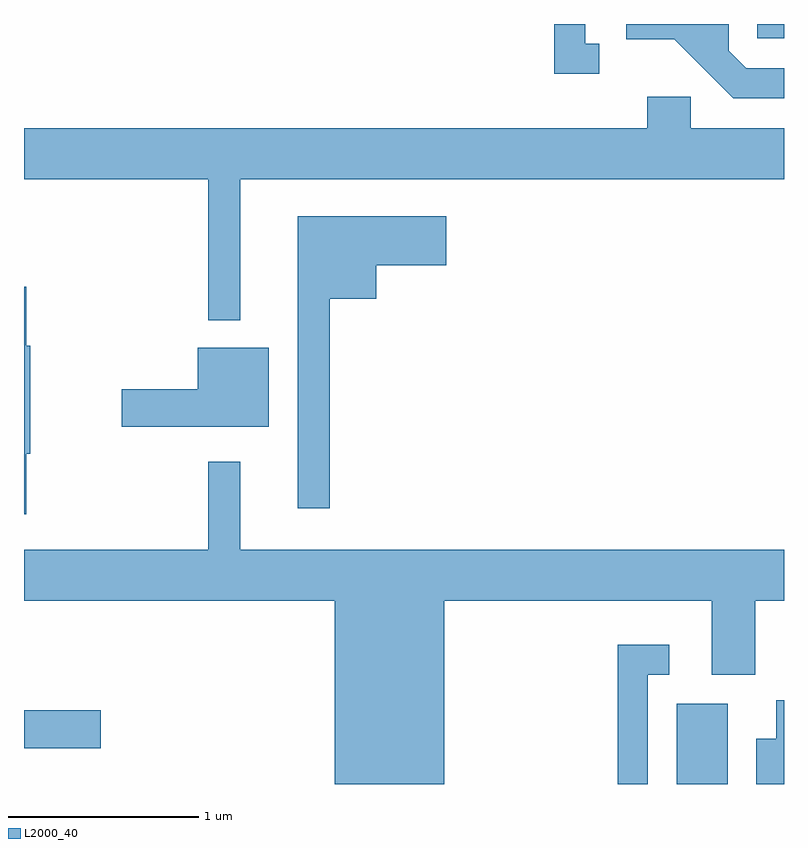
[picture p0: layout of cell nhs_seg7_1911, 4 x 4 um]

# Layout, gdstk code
import gdstk
lib = gdstk.Library(unit=1e-6, precision=1e-09)
def R(c, l, rs):  # rectangles x0, y0, x1, y1
    for r in rs: c.add(gdstk.rectangle(r[:2], r[2:], *l))
def P(c, l, *ps):  # polygons
    for p in ps: c.add(gdstk.Polygon(p, *l))
L2000_40 = (2000, 40)

nhs_seg7_1911 = lib.new_cell('nhs_seg7_1911')
R(nhs_seg7_1911, L2000_40, [(247.046,1702.252,247.314,1702.674), (243.611,1702.441,244.014,1702.639), (247.471,1706.176,247.611,1706.252)])
P(nhs_seg7_1911, L2000_40, [(247.611,1706.019),(247.412,1706.019),(247.319,1706.112),(247.319,1706.252),(246.781,1706.252),(246.781,1706.171),(247.034,1706.171),(247.344,1705.861),(247.611,1705.861)],
  [(246.638,1706.149),(246.564,1706.149),(246.564,1706.252),(246.401,1706.252),(246.401,1705.991),(246.638,1705.991)],
  [(244.749,1705.436),(247.611,1705.436),(247.611,1705.704),(247.119,1705.704),(247.119,1705.869),(246.891,1705.869),(246.891,1705.704),(243.611,1705.704),(243.611,1705.436),(244.581,1705.436),(244.581,1704.693),(244.749,1704.693)],
  [(245.219,1704.806),(245.464,1704.806),(245.464,1704.981),(245.834,1704.981),(245.834,1705.239),(245.051,1705.239),(245.051,1703.703),(245.219,1703.703)],
  [(243.624,1703.991),(243.644,1703.991),(243.644,1704.559),(243.624,1704.559),(243.624,1704.869),(243.611,1704.869),(243.611,1703.671),(243.624,1703.671)],
  [(244.899,1704.549),(244.526,1704.549),(244.526,1704.329),(244.126,1704.329),(244.126,1704.131),(244.899,1704.131)],
  [(245.824,1703.216),(247.231,1703.216),(247.231,1702.826),(247.459,1702.826),(247.459,1703.216),(247.611,1703.216),(247.611,1703.484),(244.749,1703.484),(244.749,1703.948),(244.581,1703.948),(244.581,1703.484),(243.611,1703.484),(243.611,1703.216),(245.246,1703.216),(245.246,1702.252),(245.824,1702.252)],
  [(246.894,1702.826),(247.008,1702.826),(247.008,1702.984),(246.736,1702.984),(246.736,1702.252),(246.894,1702.252)],
  [(247.611,1702.694),(247.571,1702.694),(247.571,1702.489),(247.466,1702.489),(247.466,1702.252),(247.611,1702.252)])

lib.write_gds('nhs_seg7_1911.gds')
